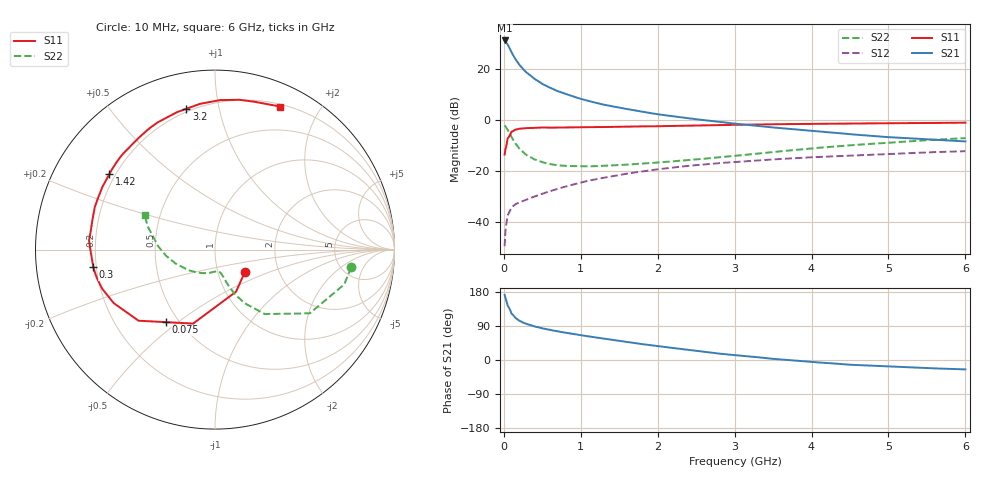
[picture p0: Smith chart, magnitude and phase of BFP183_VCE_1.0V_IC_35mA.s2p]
! Infineon Technologies  Discrete & RF Semiconductors
! BFP183
! VCE = 1.0 V,  IC =  35 mA
! Common Emitter S-Parameters:  Jan 2016
# GHz  S  MA  R  50
!  f  S11  S21  S12  S22
! GHz  MAG  ANG  MAG  ANG  MAG  ANG  MAG  ANG
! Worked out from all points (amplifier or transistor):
!   210 points, 10 MHz to 6 GHz, reference 50 ohm
!   highest |S21| = 31.1 dB at 10 MHz (marker M1)
!   |S21| within 3 dB of that: start of sweep to 72.6 MHz
!   unconditionally stable (mu >= 1): start of sweep to 18.34 MHz; 253.4 MHz to end of sweep
!   at 185 MHz: K = 0.82, MSG = 27.5 dB, |S12| = -32.7 dB
!   at 1.52 GHz: K = 1.65, MAG = 8.4 dB, |S12| = -21.6 dB
!   at 6 GHz: K = 1.31, MAG = -1.4 dB, |S12| = -12.3 dB
!   S11 on the Smith chart (normalised r, x): 10 MHz: 1.35, -0.35; 75 MHz: 0.43, -0.45; 300 MHz: 0.19, -0.07; 1.42 GHz: 0.18, +0.31; 3.2 GHz: 0.18, +0.80; 6 GHz: 0.22, +1.53
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0.01  0.2077 -36.6  35.96 171.9  0.0033 76.7  0.7656 -7.4
0.02  0.2621 -63.4  35.15 164.1  0.0062 73.1  0.7456 -15.1
0.05  0.4299 -106.5  29.93 143.5  0.0132 60.2  0.6364 -33.9
0.075  0.4884 -124.2  25.01 134.9  0.016 51.7  0.5383 -41.5
0.1  0.5819 -137.1  20.91 122.6  0.019 45.8  0.4539 -52.3
0.15  0.6385 -152.2  15.5 111.0  0.0219 43.1  0.342 -61.0
0.2  0.6654 -161.0  12.1 103.7  0.0237 42.1  0.2743 -65.8
0.24  0.6757 -166.0  10.29 99.7  0.0251 43.1  0.239 -68.0
0.3  0.6852 -172.0  8.324 94.6  0.0274 45.0  0.2004 -70.3
0.4  0.6927 -179.0  6.316 88.4  0.0311 48.2  0.1661 -72.4
0.5  0.7038 175.8  5.044 83.6  0.0352 51.0  0.1463 -74.3
0.6  0.6999 171.7  4.246 79.3  0.0395 53.1  0.1347 -76.2
0.7  0.7021 167.2  3.635 75.6  0.044 54.7  0.1275 -78.3
0.8  0.7048 164.0  3.209 72.0  0.0487 55.4  0.1242 -80.1
1.02  0.7122 156.4  2.518 64.8  0.0593 56.5  0.1216 -85.6
1.42  0.7234 144.6  1.819 53.0  0.0787 55.3  0.1271 -97.1
2.02  0.7465 128.0  1.268 36.2  0.1071 50.7  0.1456 -115.4
3.1  0.7971 103.5  0.811 11.0  0.1517 39.4  0.2019 -150.1
3.2  0.8006 101.5  0.783 9.2  0.1553 38.3  0.209 -153.0
4.1  0.8349 86.5  0.588 -6.6  0.1861 28.9  0.282 -175.0
5.1  0.8537 74.2  0.447 -17.8  0.2154 19.9  0.3616 166.5
6  0.8759 65.5  0.375 -24.8  0.2413 10.4  0.4355 153.9
